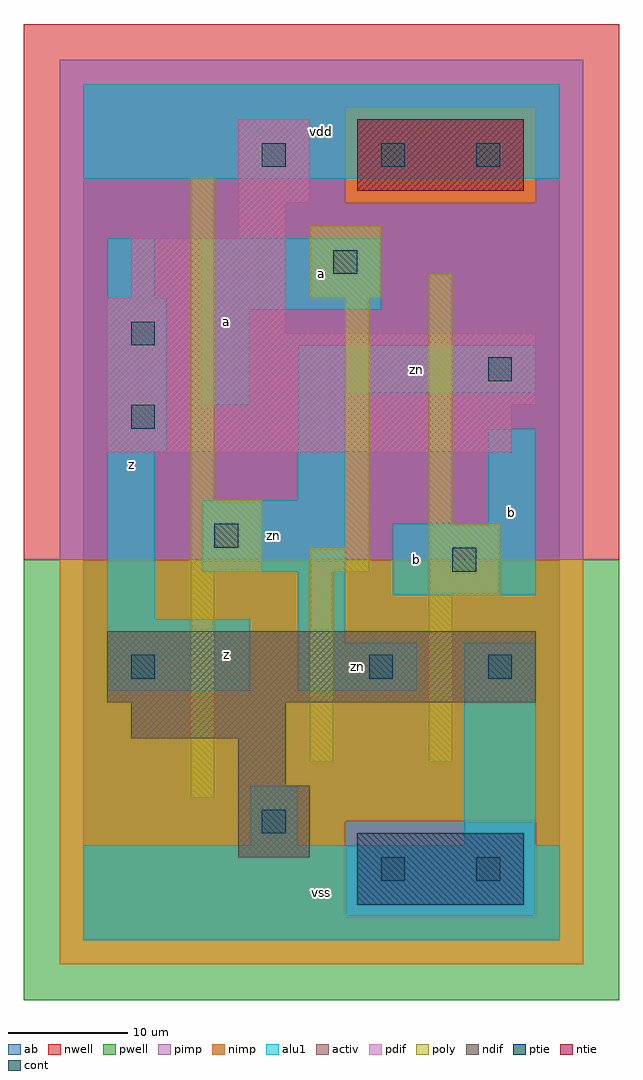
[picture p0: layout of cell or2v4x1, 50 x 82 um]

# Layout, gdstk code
import gdstk
lib = gdstk.Library(unit=1e-6, precision=1e-09)
def R(c, l, rs):  # rectangles x0, y0, x1, y1
    for r in rs: c.add(gdstk.rectangle(r[:2], r[2:], *l))
ndif = (3, 0)
pdif = (4, 0)
ntie = (5, 0)
ptie = (6, 0)
cont = (25, 0)
pwell = (41, 0)
nwell = (42, 0)
activ = (43, 0)
pimp = (44, 0)
nimp = (45, 0)
poly = (46, 0)
alu1 = (49, 0)
ab = (63, 0)

or2v4x1 = lib.new_cell('or2v4x1')
R(or2v4x1, ndif, [(13,7,19,13), (13,13,17,17), (4,17,17,20), (2,20,38,26)])
R(or2v4x1, pdif, [(2,41,36,45), (2,45,38,51), (2,51,17,54), (4,54,17,59), (13,59,17,62), (13,62,19,69)])
R(or2v4x1, ntie, [(23,63,37,69)])
R(or2v4x1, ptie, [(23,3,37,9)])
R(or2v4x1, cont, [(25,5,27,7), (33,5,35,7), (15,9,17,11), (4,22,6,24), (24,22,26,24), (34,22,36,24), (31,31,33,33), (11,33,13,35), (4,43,6,45), (34,47,36,49), (4,50,6,52), (21,56,23,58), (15,65,17,67), (25,65,27,67), (33,65,35,67)])
R(or2v4x1, pwell, [(-5,-5,45,32)])
R(or2v4x1, nwell, [(-5,32,45,77)])
R(or2v4x1, activ, [(23,3,37,9), (13,7,19,13), (13,13,17,17), (4,17,17,20), (2,20,38,26), (2,41,36,45), (2,45,38,51), (2,51,17,54), (4,54,17,59), (13,59,17,62), (13,62,19,69), (23,63,37,69)])
R(or2v4x1, pimp, [(22,2,38,10), (-2,32,42,62), (-2,62,22,70), (38,62,42,70), (-2,70,42,74)])
R(or2v4x1, nimp, [(-2,-2,42,2), (-2,2,22,10), (38,2,42,10), (-2,10,42,32), (22,62,38,70)])
R(or2v4x1, poly, [(9,12,11,31), (19,15,21,31), (29,15,31,29), (29,29,35,35), (9,31,15,37), (19,31,24,33), (22,33,24,54), (29,35,31,56), (9,37,11,64), (19,54,25,60)])
R(or2v4x1, alu1, [(0,0,40,8), (14,8,18,13), (32,8,38,25), (2,21,14,27), (18,21,28,25), (18,25,22,31), (2,27,6,41), (26,29,38,35), (10,31,22,37), (34,35,38,43), (18,37,22,46), (2,41,7,54), (10,45,14,53), (18,46,38,50), (10,53,25,59), (2,54,6,59), (0,64,40,72)])
R(or2v4x1, ab, [(0,0,40,72)])
or2v4x1.add(gdstk.Label('zn', (16,34), layer=49, texttype=0))
or2v4x1.add(gdstk.Label('zn', (23,23), layer=49, texttype=0))
or2v4x1.add(gdstk.Label('zn', (28,48), layer=49, texttype=0))
or2v4x1.add(gdstk.Label('z', (4,40), layer=49, texttype=0))
or2v4x1.add(gdstk.Label('z', (12,24), layer=49, texttype=0))
or2v4x1.add(gdstk.Label('a', (12,52), layer=49, texttype=0))
or2v4x1.add(gdstk.Label('vss', (20,4), layer=49, texttype=0))
or2v4x1.add(gdstk.Label('b', (28,32), layer=49, texttype=0))
or2v4x1.add(gdstk.Label('a', (20,56), layer=49, texttype=0))
or2v4x1.add(gdstk.Label('vdd', (20,68), layer=49, texttype=0))
or2v4x1.add(gdstk.Label('b', (36,36), layer=49, texttype=0))

lib.write_gds('or2v4x1.gds')
